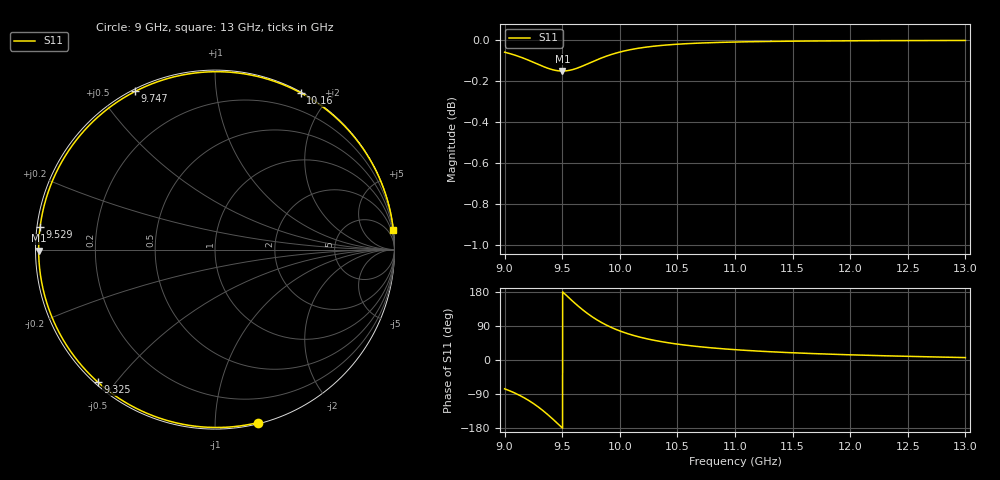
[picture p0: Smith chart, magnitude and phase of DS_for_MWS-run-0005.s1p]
! TOUCHSTONE file generated by CST DESIGN STUDIO
! Date and time: Tue Feb  4 17:19:13 2025
! Project name: C:\Work\MatlabApps\UnitCellOptimizationMatlab\CST\unitcell.cst
! Tree item: Tasks\Sweep1\SPara1\S-Parameters
! Header version: 2024
! Port assignment regex: !\s*Touchstone port\s*([0-9]+)\s*=\s*(CST MWS port|CST DES external port|CST DES block port)\s*(.+)\s* \(\"(.*)\"\)(\s*mode\s*([0-9]+))?.*
! Touchstone port assignment:
! Touchstone port 1 = CST DES external port 1 ("")
# GHz S MA R 50
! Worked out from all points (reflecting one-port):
!   4001 points, 9 GHz to 13 GHz, reference 50 ohm
!   lowest |S11| = -0.2 dB at 9.502 GHz (marker M1), VSWR 114.24, Z = 0.438 - j0.147 ohm
!   phase of S11 starts at -76 deg and turns -278 deg over the sweep
!   S11 on the Smith chart (normalised r, x): 9 GHz: 0.01, -1.28; 9.325 GHz: 0.01, -0.45; 9.529 GHz: 0.01, +0.07; 9.747 GHz: 0.01, +0.62; 10.16 GHz: 0.01, +1.69; 13 GHz: 0, +18
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9  0.9931 -76.0
9.085  0.9915 -86.7
9.187  0.9892 -102.7
9.259  0.9872 -116.7
9.325  0.9854 -131.6
9.372  0.9843 -143.4
9.421  0.9833 -156.6
9.461  0.9828 -167.9
9.5  0.9826 -179.1
9.502  0.9826 -179.7
9.529  0.9827 172.6
9.583  0.9833 157.3
9.643  0.9846 141.2
9.694  0.9859 128.6
9.747  0.9874 116.8
9.799  0.9888 106.4
9.857  0.9903 96.3
9.928  0.9918 85.7
10  0.9931 76.7
10.161  0.9953 61.4
10.315  0.9966 51.0
10.5  0.9975 41.9
10.722  0.9982 34.2
11  0.9987 27.2
11.5  0.9992 19.1
12  0.9994 13.7
12.5  0.9996 9.6
13  0.9996 6.4
